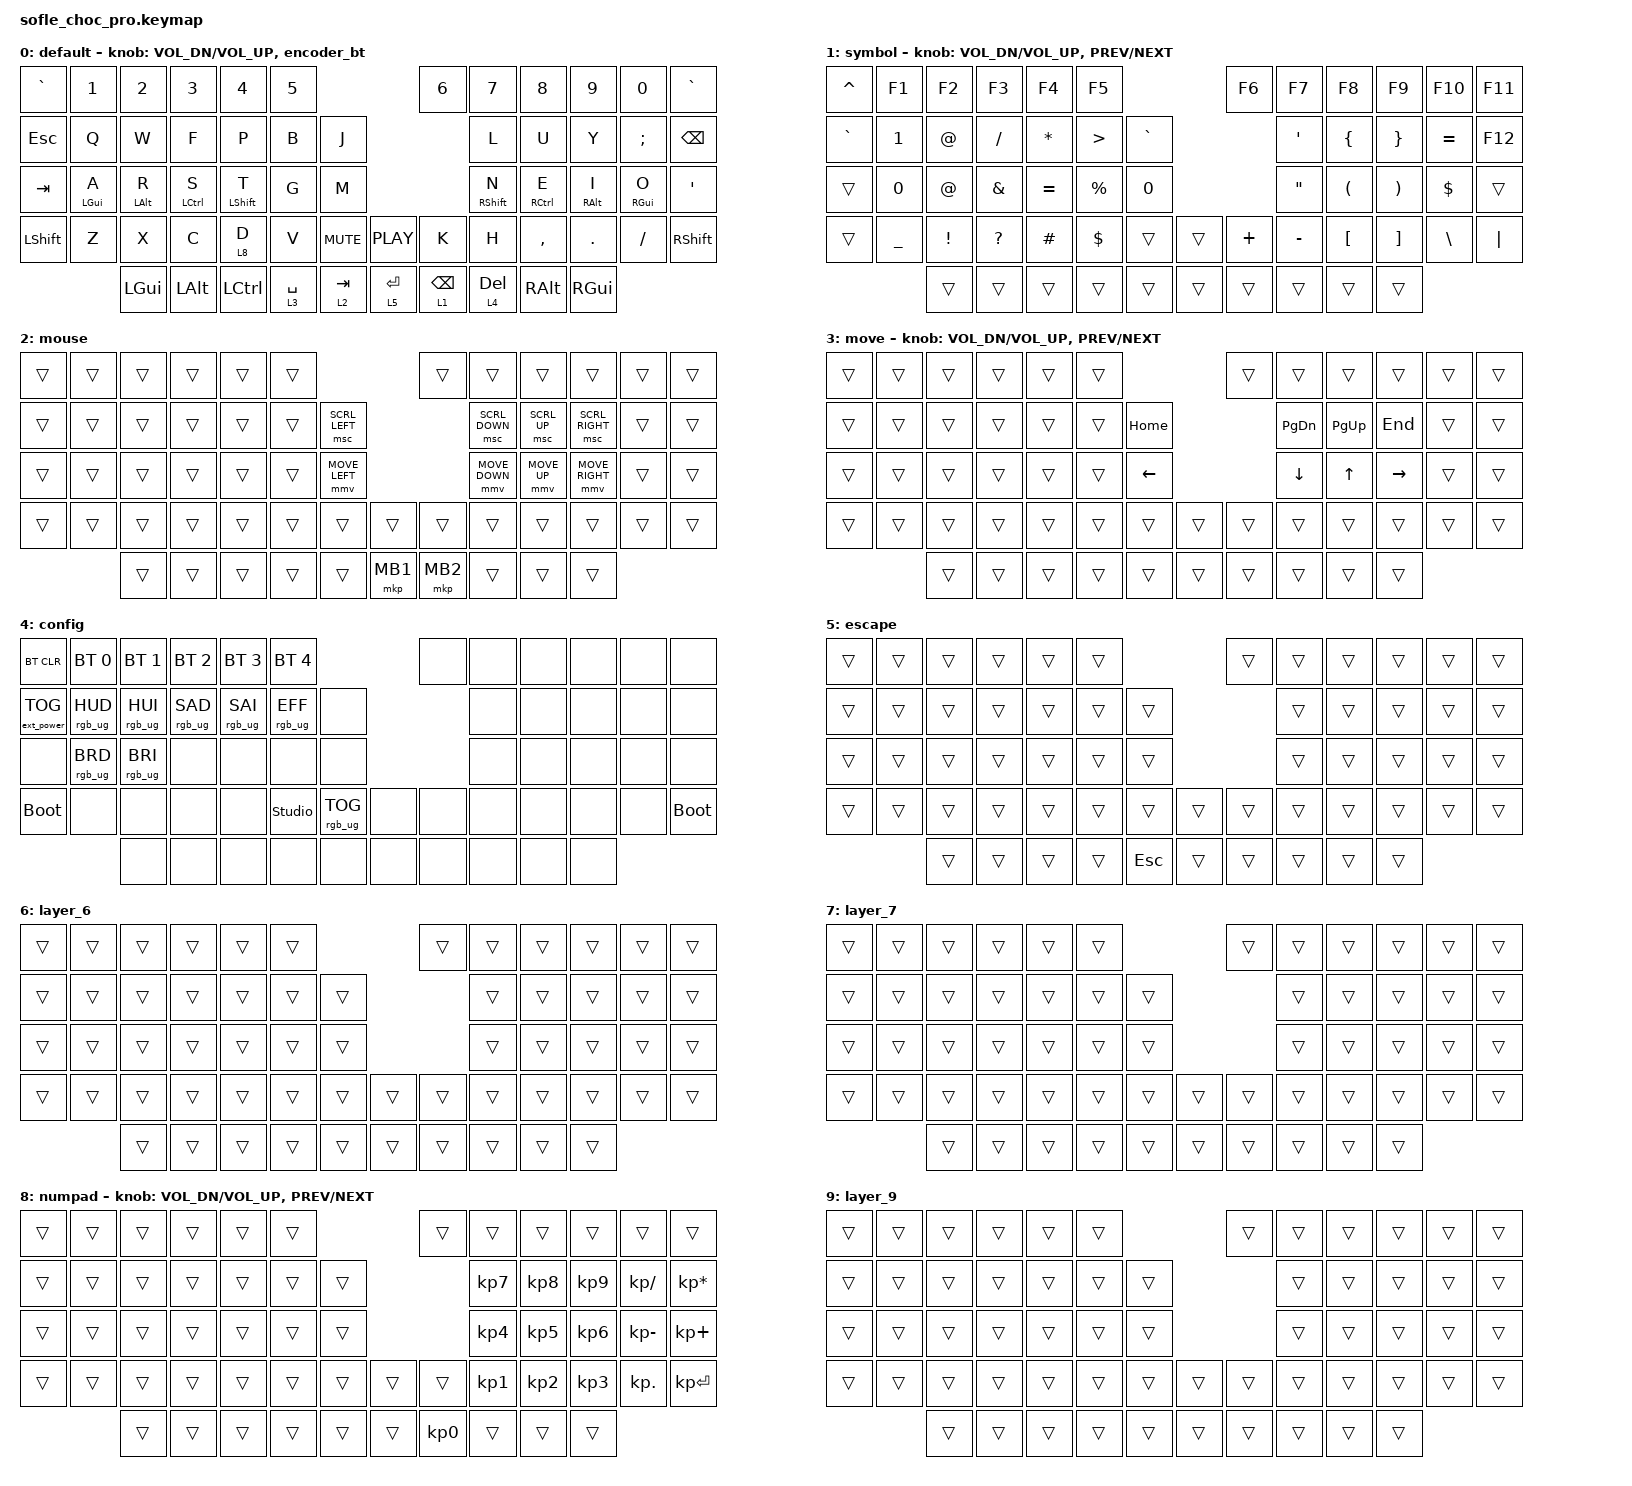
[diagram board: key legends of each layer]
/*
* Copyright (c) 2020 The ZMK Contributors
*
* SPDX-License-Identifier: MIT
*/
// Faster cursor (default 600) and scroll (default 10). Must precede pointing.h.

#define ZMK_POINTING_DEFAULT_MOVE_VAL 900
#define ZMK_POINTING_DEFAULT_SCRL_VAL 20

#include <behaviors.dtsi>
#include <dt-bindings/zmk/bt.h>
#include <dt-bindings/zmk/ext_power.h>
#include <dt-bindings/zmk/keys.h>
#include <dt-bindings/zmk/pointing.h>
#include <dt-bindings/zmk/rgb.h>

#define BASE 0
#define LOWER 1
#define RAISE 2
#define ADJUST 3

/ {
    // Activate ADJUST layer by pressing raise and lower

    conditional_layers { compatible = "zmk,conditional-layers"; };

    // Timeless home row mods (https://zmk.dev/docs/keymaps/behaviors/hold-tap)

    behaviors {
        hml: home_row_mod_left {
            compatible = "zmk,behavior-hold-tap";
            #binding-cells = <2>;
            flavor = "balanced";
            require-prior-idle-ms = <0>;
            tapping-term-ms = <280>;
            quick-tap-ms = <175>;
            bindings = <&kp>, <&kp>;
        };

        hmr: home_row_mod_right {
            compatible = "zmk,behavior-hold-tap";
            #binding-cells = <2>;
            flavor = "balanced";
            require-prior-idle-ms = <0>;
            tapping-term-ms = <280>;
            quick-tap-ms = <175>;
            bindings = <&kp>, <&kp>;
        };

        encoder_bt: behavior_sensor_rotate_bt {
            compatible = "zmk,behavior-sensor-rotate";
            #sensor-binding-cells = <0>;
            bindings = <&bt BT_SEL 0>, <&bt BT_SEL 1>;
        };
    };

    combos { compatible = "zmk,combos"; };

    keymap {
        compatible = "zmk,keymap";

        default_layer {
            display-name = "default";

            // ------------------------------------------------------------------------------------------------------------
            // |   `   |  1  |  2  |  3   |  4   |  5   |                   |  6   |  7    |  8    |  9   |   0   |   `   |
            // |  ESC  |  Q  |  W  |  E   |  R   |  T   |                   |  Y   |  U    |  I    |  O   |   P   | BKSPC |
            // |  TAB  |  A  |  S  |  D   |  F   |  G   |                   |  H   |  J    |  K    |  L   |   ;   |   '   |
            // | SHIFT |  Z  |  X  |  C   |  V   |  B   |  MUTE  |  | PLAY  |  N   |  M    |  ,    |  .   |   /   | SHIFT |
            //               | GUI | ALT  | CTRL | LOWER|  ENTER |  | SPACE | RAISE| CTRL  | ALT   | GUI  |

            bindings = <
&kp GRAVE  &kp N1           &kp N2           &kp N3        &kp N4             &kp N5                               &kp N6           &kp N7              &kp N8        &kp N9            &kp N0       &kp GRAVE
&kp ESC    &kp Q            &kp W            &kp F         &kp P              &kp B        &kp J                                    &kp L               &kp U         &kp Y             &kp SEMI     &kp BSPC
&kp TAB    &hml LEFT_GUI A  &hml LEFT_ALT R  &hml LCTRL S  &hml LEFT_SHIFT T  &kp G        &kp M                                    &hmr RIGHT_SHIFT N  &hmr RCTRL E  &hmr RIGHT_ALT I  &hmr RGUI O  &kp SQT
&kp LSHFT  &kp Z            &kp X            &kp C         &lt 8 D            &kp V        &kp C_MUTE  &kp C_PLAY  &kp K            &kp H               &kp COMMA     &kp DOT           &kp FSLH     &kp RSHFT
                            &kp LGUI         &kp LALT      &kp LCTRL          &lt 3 SPACE  &lt 2 TAB   &lt 5 RET   &lt 1 BACKSPACE  &lt 4 DELETE        &kp RALT      &kp RGUI
            >;

            sensor-bindings = <&inc_dec_kp C_VOL_DN C_VOL_UP &encoder_bt>;
        };

        symbol_layer {
            display-name = "symbol";

            // ------------------------------------------------------------------------------------------------------------
            // |       |  F1 |  F2 |  F3  |  F4  |  F5  |                   |  F6  |  F7   |  F8   |  F9  |  F10  |  F11  |
            // |   `   |  1  |  2  |  3   |  4   |  5   |                   |  6   |  7    |  8    |  9   |   0   |  F12  |
            // |       |  !  |  @  |  #   |  $   |  %   |                   |  ^   |  &    |  *    |  (   |   )   |   |   |
            // |       |  =  |  -  |  +   |  {   |  }   |        |  |       |  [   |  ]    |  ;    |  :   |   \   |       |
            //               |     |      |      |      |        |  |       |      |       |       |      |

            bindings = <
&kp CARET  &kp F1     &kp F2           &kp F3         &kp F4        &kp F5                               &kp F6    &kp F7             &kp F8                &kp F9             &kp F10     &kp F11
&kp GRAVE  &kp N1     &kp AT_SIGN      &kp SLASH      &kp ASTERISK  &kp GREATER_THAN  &kp GRAVE                    &kp SQT            &kp LEFT_BRACE        &kp RBRC           &kp EQUAL   &kp F12
&trans     &kp N0     &kp AT           &kp AMPERSAND  &kp EQUAL     &kp PRCNT         &kp N0                       &kp DOUBLE_QUOTES  &kp LEFT_PARENTHESIS  &kp RPAR           &kp DOLLAR  &trans
&trans     &kp UNDER  &kp EXCLAMATION  &kp QUESTION   &kp HASH      &kp DOLLAR        &trans     &trans  &kp PLUS  &kp MINUS          &kp LEFT_BRACKET      &kp RIGHT_BRACKET  &kp BSLH    &kp PIPE
                      &trans           &trans         &trans        &trans            &trans     &trans  &trans    &trans             &trans                &trans
            >;

            sensor-bindings = <&inc_dec_kp C_VOL_DN C_VOL_UP &inc_dec_kp C_PREV C_NEXT>;
        };

        mouse {
            bindings = <
&trans  &trans  &trans  &trans  &trans  &trans                            &trans    &trans          &trans        &trans           &trans  &trans
&trans  &trans  &trans  &trans  &trans  &trans  &msc SCRL_LEFT                      &msc SCRL_DOWN  &msc SCRL_UP  &msc SCRL_RIGHT  &trans  &trans
&trans  &trans  &trans  &trans  &trans  &trans  &mmv MOVE_LEFT                      &mmv MOVE_DOWN  &mmv MOVE_UP  &mmv MOVE_RIGHT  &trans  &trans
&trans  &trans  &trans  &trans  &trans  &trans  &trans          &trans    &trans    &trans          &trans        &trans           &trans  &trans
                &trans  &trans  &trans  &trans  &trans          &mkp MB1  &mkp MB2  &trans          &trans        &trans
            >;

            label = "mouse";
        };

        move_layer {
            display-name = "move";

            // ------------------------------------------------------------------------------------------------------------
            // | BTCLR | BT1  | BT2  |  BT3  |  BT4  |  BT5 |                |      |      |       |      |       |       |
            // |       | INS  | PSCR | GUI   |       |      |                | PGUP |      |   ^   |      |       |       |
            // |       | ALT  | CTRL | SHIFT |       | CAPS |                | PGDN |   <- |   v   |  ->  |  DEL  | BKSPC |
            // |       | UNDO | CUT  | COPY  | PASTE | STUD |      |  |      |      |      |       |      |       |       |
            //                |      |       |       |      |      |  |      |      |      |       |      |

            bindings = <
&trans  &trans  &trans  &trans  &trans  &trans                    &trans  &trans         &trans        &trans     &trans  &trans
&trans  &trans  &trans  &trans  &trans  &trans  &kp HOME                  &kp PAGE_DOWN  &kp PAGE_UP   &kp END    &trans  &trans
&trans  &trans  &trans  &trans  &trans  &trans  &kp LEFT                  &kp DOWN       &kp UP_ARROW  &kp RIGHT  &trans  &trans
&trans  &trans  &trans  &trans  &trans  &trans  &trans    &trans  &trans  &trans         &trans        &trans     &trans  &trans
                &trans  &trans  &trans  &trans  &trans    &trans  &trans  &trans         &trans        &trans
            >;

            sensor-bindings = <&inc_dec_kp C_VOL_DN C_VOL_UP &inc_dec_kp C_PREV C_NEXT>;
        };

        config_layer {
            // ----------------------------------------------------------------------------------------------------------------------------
            // | BTCLR  |  BT1    |  BT2    |   BT3   |   BT4   |   BT5   |                  |      |      |       |      |       |       |
            // | EXTPWR | RGB_HUD | RGB_HUI | RGB_SAD | RGB_SAI | RGB_EFF |                  |      |      |       |      |       |       |
            // |        | RGB_BRD | RGB_BRI |         |         |         |                  |      |      |       |      |       |       |
            // |        |         |         |         |         |         | RGB_TOG | |      |      |      |       |      |       |       |
            //                    |         |         |         |         |         | |      |      |      |       |      |

            display-name = "config";
            bindings = <
&bt BT_CLR         &bt BT_SEL 0     &bt BT_SEL 1     &bt BT_SEL 2     &bt BT_SEL 3     &bt BT_SEL 4                             &none  &none  &none  &none  &none  &none
&ext_power EP_TOG  &rgb_ug RGB_HUD  &rgb_ug RGB_HUI  &rgb_ug RGB_SAD  &rgb_ug RGB_SAI  &rgb_ug RGB_EFF  &none                          &none  &none  &none  &none  &none
&none              &rgb_ug RGB_BRD  &rgb_ug RGB_BRI  &none            &none            &none            &none                          &none  &none  &none  &none  &none
&bootloader        &none            &none            &none            &none            &studio_unlock   &rgb_ug RGB_TOG  &none  &none  &none  &none  &none  &none  &bootloader
                                    &none            &none            &none            &none            &none            &none  &none  &none  &none  &none
            >;
        };

        escape {
            bindings = <
&trans  &trans  &trans  &trans  &trans  &trans                      &trans  &trans  &trans  &trans  &trans  &trans
&trans  &trans  &trans  &trans  &trans  &trans  &trans                      &trans  &trans  &trans  &trans  &trans
&trans  &trans  &trans  &trans  &trans  &trans  &trans                      &trans  &trans  &trans  &trans  &trans
&trans  &trans  &trans  &trans  &trans  &trans  &trans      &trans  &trans  &trans  &trans  &trans  &trans  &trans
                &trans  &trans  &trans  &trans  &kp ESCAPE  &trans  &trans  &trans  &trans  &trans
            >;

            label = "escape";
        };

        layer_6 {
            bindings = <
&trans  &trans  &trans  &trans  &trans  &trans                  &trans  &trans  &trans  &trans  &trans  &trans
&trans  &trans  &trans  &trans  &trans  &trans  &trans                  &trans  &trans  &trans  &trans  &trans
&trans  &trans  &trans  &trans  &trans  &trans  &trans                  &trans  &trans  &trans  &trans  &trans
&trans  &trans  &trans  &trans  &trans  &trans  &trans  &trans  &trans  &trans  &trans  &trans  &trans  &trans
                &trans  &trans  &trans  &trans  &trans  &trans  &trans  &trans  &trans  &trans
            >;
        };

        layer_7 {
            bindings = <
&trans  &trans  &trans  &trans  &trans  &trans                  &trans  &trans  &trans  &trans  &trans  &trans
&trans  &trans  &trans  &trans  &trans  &trans  &trans                  &trans  &trans  &trans  &trans  &trans
&trans  &trans  &trans  &trans  &trans  &trans  &trans                  &trans  &trans  &trans  &trans  &trans
&trans  &trans  &trans  &trans  &trans  &trans  &trans  &trans  &trans  &trans  &trans  &trans  &trans  &trans
                &trans  &trans  &trans  &trans  &trans  &trans  &trans  &trans  &trans  &trans
            >;
        };

        numpad {
            display-name = "numpad";

            // Right-hand numpad (hold D on the base layer to activate).
            // Digits sit on index/middle/ring columns just like a real numpad:
            // ------------------------------------------------------------------
            // |   |   |   |   |   |   |              |   |  7  |  8  |  9  |  /  |  *  |
            // |   |   |   |   |   |   |              |   |  4  |  5  |  6  |  -  |  +  |
            // |   |   |   |   |   |   |   |  |   |    |   |  1  |  2  |  3  |  .  | ENT |
            //             |   |   |   |   |   |  |   |  0  |    |    |    |

            bindings = <
&trans  &trans  &trans  &trans  &trans  &trans                  &trans     &trans     &trans     &trans     &trans         &trans
&trans  &trans  &trans  &trans  &trans  &trans  &trans                     &kp KP_N7  &kp KP_N8  &kp KP_N9  &kp KP_DIVIDE  &kp KP_MULTIPLY
&trans  &trans  &trans  &trans  &trans  &trans  &trans                     &kp KP_N4  &kp KP_N5  &kp KP_N6  &kp KP_MINUS   &kp KP_PLUS
&trans  &trans  &trans  &trans  &trans  &trans  &trans  &trans  &trans     &kp KP_N1  &kp KP_N2  &kp KP_N3  &kp KP_DOT     &kp KP_ENTER
                &trans  &trans  &trans  &trans  &trans  &trans  &kp KP_N0  &trans     &trans     &trans
            >;

            sensor-bindings = <&inc_dec_kp C_VOL_DN C_VOL_UP &inc_dec_kp C_PREV C_NEXT>;
        };

        layer_9 {
            bindings = <
&trans  &trans  &trans  &trans  &trans  &trans                  &trans  &trans  &trans  &trans  &trans  &trans
&trans  &trans  &trans  &trans  &trans  &trans  &trans                  &trans  &trans  &trans  &trans  &trans
&trans  &trans  &trans  &trans  &trans  &trans  &trans                  &trans  &trans  &trans  &trans  &trans
&trans  &trans  &trans  &trans  &trans  &trans  &trans  &trans  &trans  &trans  &trans  &trans  &trans  &trans
                &trans  &trans  &trans  &trans  &trans  &trans  &trans  &trans  &trans  &trans
            >;
        };
    };
};

// Allow tap-then-hold to repeat the tap key (e.g. hold backspace to delete
// multiple chars) on all layer-taps. Hold without a prior tap still switches layer.

&lt { quick-tap-ms = <200>; };

// Snappier mouse acceleration: reach full speed faster than the 300ms default.

&mmv { time-to-max-speed-ms = <150>; };

&msc { time-to-max-speed-ms = <40>; };
